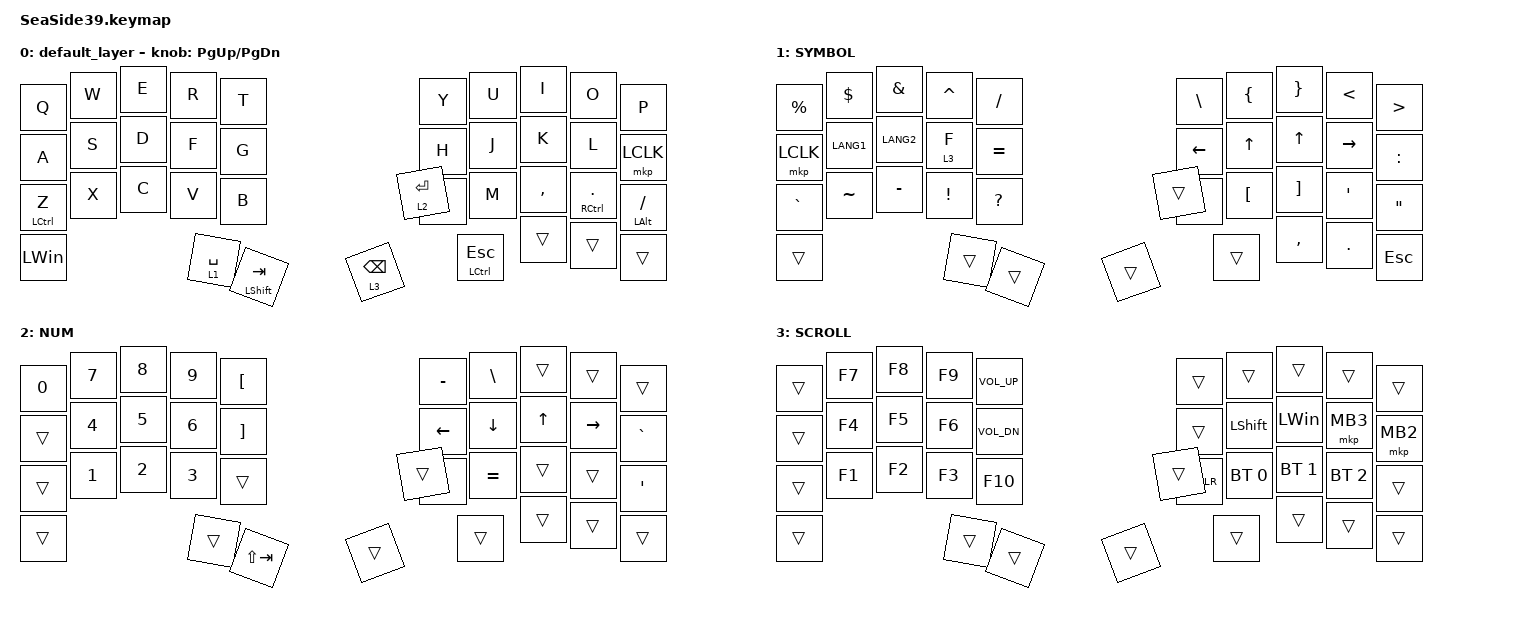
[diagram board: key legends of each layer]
#include <behaviors.dtsi>
#include <dt-bindings/zmk/bt.h>
#include <dt-bindings/zmk/keys.h>
#include <dt-bindings/zmk/pointing.h>

#define MOUSE 4
#define SCROLL 3
#define NUM 6

&mt {
    flavor = "balanced";
    quick-tap-ms = <300>;
};

&lt {
    flavor = "balanced";
    quick-tap-ms = <300>;
};

/ {
    combos { compatible = "zmk,combos"; };

    macros {
        to_layer_0: to_layer_0 {
            compatible = "zmk,behavior-macro-one-param";
            #binding-cells = <1>;
            bindings = <&to 0 &macro_param_1to1 &kp MACRO_PLACEHOLDER>;
            label = "TO_LAYER_0";
        };
    };

    behaviors {
        lt_to_layer_0: lt_to_layer_0 {
            compatible = "zmk,behavior-hold-tap";
            label = "LAYER_TAP_TO_0";
            bindings = <&mo>, <&to_layer_0>;

            #binding-cells = <2>;
            tapping-term-ms = <200>;
        };
    };

    keymap {
        compatible = "zmk,keymap";

        default_layer {
            bindings = <
&kp Q         &kp W  &kp E  &kp R  &kp T                                                 &kp Y        &kp U                    &kp I      &kp O                     &kp P
&kp A         &kp S  &kp D  &kp F  &kp G                                                 &kp H        &kp J                    &kp K      &kp L                     &mkp LCLK
&mt LCTRL Z   &kp X  &kp C  &kp V  &kp B                                                 &kp N        &kp M                    &kp COMMA  &mt RIGHT_CONTROL PERIOD  &mt LEFT_ALT SLASH
&kp LEFT_WIN                       &lt 1 SPACE  &mt LEFT_SHIFT TAB      &lt 3 BACKSPACE  &lt 2 ENTER  &mt LEFT_CONTROL ESCAPE  &trans     &trans                    &trans
            >;

            sensor-bindings = <&inc_dec_kp PG_UP PAGE_DOWN>;
        };

        SYMBOL {
            bindings = <
&kp PRCNT  &kp DOLLAR  &kp AMPERSAND  &kp CARET        &kp FSLH                          &kp BSLH  &kp LEFT_BRACE  &kp RIGHT_BRACE  &kp LESS_THAN  &kp GREATER_THAN
&mkp LCLK  &kp LANG1   &kp LANG2      &lt 3 F          &kp EQUAL                         &kp LEFT  &kp UP_ARROW    &kp UP_ARROW     &kp RIGHT      &kp COLON
&kp GRAVE  &kp TILDE   &kp MINUS      &kp EXCLAMATION  &kp QUESTION                      &kp PIPE  &kp LBKT        &kp RBKT         &kp SQT        &kp DOUBLE_QUOTES
&trans                                                 &trans        &trans      &trans  &trans    &trans          &kp COMMA        &kp PERIOD     &kp ESC
            >;
        };

        NUM {
            bindings = <
&kp N0  &kp N7        &kp N8        &kp N9        &kp LEFT_BRACKET                            &kp MINUS      &kp BACKSLASH  &trans        &trans     &trans
&trans  &kp NUMBER_4  &kp N5        &kp NUMBER_6  &kp RIGHT_BRACKET                           &kp LEFT       &kp DOWN       &kp UP_ARROW  &kp RIGHT  &kp GRAVE
&trans  &kp NUMBER_1  &kp NUMBER_2  &kp NUMBER_3  &trans                                      &kp SEMICOLON  &kp EQUAL      &trans        &trans     &kp SQT
&trans                                            &trans             &kp LS(TAB)      &trans  &trans         &trans         &trans        &trans     &trans
            >;
        };

        SCROLL {
            bindings = <
&trans  &kp F7  &kp F8  &kp F9  &kp C_VOLUME_UP                      &trans      &trans          &trans        &trans        &trans
&trans  &kp F4  &kp F5  &kp F6  &kp C_VOL_DN                         &trans      &kp LEFT_SHIFT  &kp LEFT_WIN  &mkp MB3      &mkp MB2
&trans  &kp F1  &kp F2  &kp F3  &kp F10                              &bt BT_CLR  &bt BT_SEL 0    &bt BT_SEL 1  &bt BT_SEL 2  &trans
&trans                          &trans           &trans      &trans  &trans      &trans          &trans        &trans        &trans
            >;
        };
    };
};
